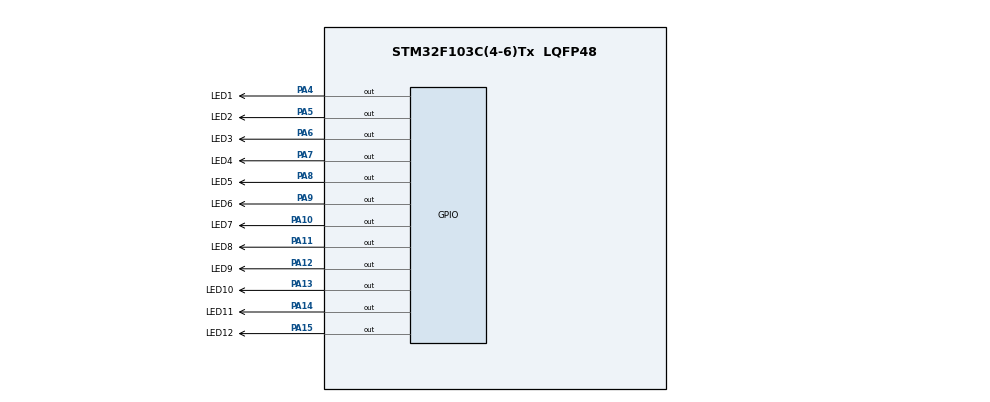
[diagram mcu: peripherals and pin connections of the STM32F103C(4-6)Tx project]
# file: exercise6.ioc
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Mcu.Family=STM32F1
Mcu.Name=STM32F103C(4-6)Tx
Mcu.Package=LQFP48
NVIC.PriorityGroup=NVIC_PRIORITYGROUP_4
PA10.GPIO_Label=LED7
PA10.Signal=GPIO_Output
PA11.GPIO_Label=LED8
PA11.Signal=GPIO_Output
PA12.GPIO_Label=LED9
PA12.Signal=GPIO_Output
PA13.GPIO_Label=LED10
PA13.Signal=GPIO_Output
PA14.GPIO_Label=LED11
PA14.Signal=GPIO_Output
PA15.GPIO_Label=LED12
PA15.Signal=GPIO_Output
PA4.GPIO_Label=LED1
PA4.Signal=GPIO_Output
PA5.GPIO_Label=LED2
PA5.Signal=GPIO_Output
PA6.GPIO_Label=LED3
PA6.Signal=GPIO_Output
PA7.GPIO_Label=LED4
PA7.Signal=GPIO_Output
PA8.GPIO_Label=LED5
PA8.Signal=GPIO_Output
PA9.GPIO_Label=LED6
PA9.Signal=GPIO_Output
ProjectManager.HeapSize=0x200
ProjectManager.StackSize=0x400
ProjectManager.TargetToolchain=STM32CubeIDE
RCC.APB1Freq_Value=8000000
RCC.APB2Freq_Value=8000000
board=custom

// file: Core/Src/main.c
/* USER CODE BEGIN Header */
/**
  ******************************************************************************
  * @file           : main.c
  * @brief          : Main program body
  ******************************************************************************
  * @attention
  *
  * Copyright (c) 2022 STMicroelectronics.
  * All rights reserved.
  *
  * This software is licensed under terms that can be found in the LICENSE file
  * in the root directory of this software component.
  * If no LICENSE file comes with this software, it is provided AS-IS.
  *
  ******************************************************************************
  */
/* USER CODE END Header */
#include "main.h"

void SystemClock_Config(void);
static void MX_GPIO_Init(void);
/* USER CODE BEGIN PFP */
int state[13]={0};
void clearAllClock(){
		  HAL_GPIO_WritePin(LED1_GPIO_Port, LED1_Pin, RESET);
		  HAL_GPIO_WritePin(LED2_GPIO_Port, LED2_Pin, RESET);
		  HAL_GPIO_WritePin(LED3_GPIO_Port, LED3_Pin, RESET);
		  HAL_GPIO_WritePin(LED4_GPIO_Port, LED4_Pin, RESET);
		  HAL_GPIO_WritePin(LED5_GPIO_Port, LED5_Pin, RESET);
		  HAL_GPIO_WritePin(LED6_GPIO_Port, LED6_Pin, RESET);
		  HAL_GPIO_WritePin(LED7_GPIO_Port, LED7_Pin, RESET);
		  HAL_GPIO_WritePin(LED8_GPIO_Port, LED8_Pin, RESET);
		  HAL_GPIO_WritePin(LED9_GPIO_Port, LED9_Pin, RESET);
		  HAL_GPIO_WritePin(LED10_GPIO_Port, LED10_Pin, RESET);
		  HAL_GPIO_WritePin(LED11_GPIO_Port, LED11_Pin, RESET);
		  HAL_GPIO_WritePin(LED12_GPIO_Port, LED12_Pin, RESET);
		  for ( int i = 1; i <13; i ++) state[i]=0;
}
void setNumberOnClock(int num){
		if (num<=0 || num >=13) return;
		if (state[num]==1) return;
		if (num==1) {HAL_GPIO_WritePin(LED1_GPIO_Port, LED1_Pin, SET); state[num]=1;}
		if (num==2) {HAL_GPIO_WritePin(LED2_GPIO_Port, LED2_Pin, SET); state[num]=1;}
		if (num==3) {HAL_GPIO_WritePin(LED3_GPIO_Port, LED3_Pin, SET); state[num]=1;}
		if (num==4) {HAL_GPIO_WritePin(LED4_GPIO_Port, LED4_Pin, SET); state[num]=1;}
		if (num==5) {HAL_GPIO_WritePin(LED5_GPIO_Port, LED5_Pin, SET); state[num]=1;}
		if (num==6) {HAL_GPIO_WritePin(LED6_GPIO_Port, LED6_Pin, SET); state[num]=1;}
		if (num==7) {HAL_GPIO_WritePin(LED7_GPIO_Port, LED7_Pin, SET); state[num]=1;}
		if (num==8) {HAL_GPIO_WritePin(LED8_GPIO_Port, LED8_Pin, SET); state[num]=1;}
		if (num==9) {HAL_GPIO_WritePin(LED9_GPIO_Port, LED9_Pin, SET); state[num]=1;}
		if (num==10) {HAL_GPIO_WritePin(LED10_GPIO_Port, LED10_Pin, SET); state[num]=1;}
		if (num==11) {HAL_GPIO_WritePin(LED11_GPIO_Port, LED11_Pin, SET); state[num]=1;}
		if (num==12) {HAL_GPIO_WritePin(LED12_GPIO_Port, LED12_Pin, SET); state[num]=1;}
}
void clearNumberOnClock(int num){
	if (num<=0 || num >=13) return;
	if (state[num]==0) return;
	if (num==1) {HAL_GPIO_WritePin(LED1_GPIO_Port, LED1_Pin, RESET); state[num]=0;}
	if (num==2) {HAL_GPIO_WritePin(LED2_GPIO_Port, LED2_Pin, RESET); state[num]=0;}
	if (num==3) {HAL_GPIO_WritePin(LED3_GPIO_Port, LED3_Pin, RESET); state[num]=0;}
	if (num==4) {HAL_GPIO_WritePin(LED4_GPIO_Port, LED4_Pin, RESET); state[num]=0;}
	if (num==5) {HAL_GPIO_WritePin(LED5_GPIO_Port, LED5_Pin, RESET); state[num]=0;}
	if (num==6) {HAL_GPIO_WritePin(LED6_GPIO_Port, LED6_Pin, RESET); state[num]=0;}
	if (num==7) {HAL_GPIO_WritePin(LED7_GPIO_Port, LED7_Pin, RESET); state[num]=0;}
	if (num==8) {HAL_GPIO_WritePin(LED8_GPIO_Port, LED8_Pin, RESET); state[num]=0;}
	if (num==9) {HAL_GPIO_WritePin(LED9_GPIO_Port, LED9_Pin, RESET); state[num]=0;}
	if (num==10) {HAL_GPIO_WritePin(LED10_GPIO_Port, LED10_Pin, RESET); state[num]=0;}
	if (num==11) {HAL_GPIO_WritePin(LED11_GPIO_Port, LED11_Pin, RESET); state[num]=0;}
	if (num==12) {HAL_GPIO_WritePin(LED12_GPIO_Port, LED12_Pin, RESET); state[num]=0;}
}
/* USER CODE END PFP */

int main(void)
{

  /* MCU Configuration--------------------------------------------------------*/

  /* Reset of all peripherals, Initializes the Flash interface and the Systick. */
  HAL_Init();

  /* Configure the system clock */
  SystemClock_Config();

  /* Initialize all configured peripherals */
  MX_GPIO_Init();
  /* USER CODE BEGIN 2 */
  int sec=55;//second
  int min=59;//minute
  int hour=8;
  /* USER CODE END 2 */

  /* Infinite loop */
  /* USER CODE BEGIN WHILE */
  while (1)
  {

	  	 //tat tat ca den led
	  	 clearAllClock();
	  	 //dem thoi gian
	  	 sec++;
	  	 if(sec>=60){sec=0;min++;}
	  	 if(min>=60){min=0;hour++;}
	  	 if(hour>12){hour=1;}
	  	 // bieu dien thoi gian tren led
	  	 setNumberOnClock(sec/5);
	  	 if (min==0) {setNumberOnClock(12);}
	  	 else setNumberOnClock(min/5);
	  	 setNumberOnClock(hour);
	  	 ///////////////
	  	 HAL_Delay(1000);
    /* USER CODE END WHILE */

  }
}

void SystemClock_Config(void)
{
  RCC_OscInitTypeDef RCC_OscInitStruct = {0};
  RCC_ClkInitTypeDef RCC_ClkInitStruct = {0};

  /** Initializes the RCC Oscillators according to the specified parameters
  * in the RCC_OscInitTypeDef structure.
  */
  RCC_OscInitStruct.OscillatorType = RCC_OSCILLATORTYPE_HSI;
  RCC_OscInitStruct.HSIState = RCC_HSI_ON;
  RCC_OscInitStruct.HSICalibrationValue = RCC_HSICALIBRATION_DEFAULT;
  RCC_OscInitStruct.PLL.PLLState = RCC_PLL_NONE;
  if (HAL_RCC_OscConfig(&RCC_OscInitStruct) != HAL_OK)
  {
    Error_Handler();
  }

  /** Initializes the CPU, AHB and APB buses clocks
  */
  RCC_ClkInitStruct.ClockType = RCC_CLOCKTYPE_HCLK|RCC_CLOCKTYPE_SYSCLK
                              |RCC_CLOCKTYPE_PCLK1|RCC_CLOCKTYPE_PCLK2;
  RCC_ClkInitStruct.SYSCLKSource = RCC_SYSCLKSOURCE_HSI;
  RCC_ClkInitStruct.AHBCLKDivider = RCC_SYSCLK_DIV1;
  RCC_ClkInitStruct.APB1CLKDivider = RCC_HCLK_DIV1;
  RCC_ClkInitStruct.APB2CLKDivider = RCC_HCLK_DIV1;

  if (HAL_RCC_ClockConfig(&RCC_ClkInitStruct, FLASH_LATENCY_0) != HAL_OK)
  {
    Error_Handler();
  }
}

static void MX_GPIO_Init(void)
{
  GPIO_InitTypeDef GPIO_InitStruct = {0};

  /* GPIO Ports Clock Enable */
  __HAL_RCC_GPIOA_CLK_ENABLE();

  /*Configure GPIO pin Output Level */
  HAL_GPIO_WritePin(GPIOA, LED1_Pin|LED2_Pin|LED3_Pin|LED4_Pin
                          |LED5_Pin|LED6_Pin|LED7_Pin|LED8_Pin
                          |LED9_Pin|LED10_Pin|LED11_Pin|LED12_Pin, GPIO_PIN_RESET);

  /*Configure GPIO pins : LED1_Pin LED2_Pin LED3_Pin LED4_Pin
                           LED5_Pin LED6_Pin LED7_Pin LED8_Pin
                           LED9_Pin LED10_Pin LED11_Pin LED12_Pin */
  GPIO_InitStruct.Pin = LED1_Pin|LED2_Pin|LED3_Pin|LED4_Pin
                          |LED5_Pin|LED6_Pin|LED7_Pin|LED8_Pin
                          |LED9_Pin|LED10_Pin|LED11_Pin|LED12_Pin;
  GPIO_InitStruct.Mode = GPIO_MODE_OUTPUT_PP;
  GPIO_InitStruct.Pull = GPIO_NOPULL;
  GPIO_InitStruct.Speed = GPIO_SPEED_FREQ_LOW;
  HAL_GPIO_Init(GPIOA, &GPIO_InitStruct);

}

void Error_Handler(void)
{
  __disable_irq();
  while (1)
  {
  }
}
